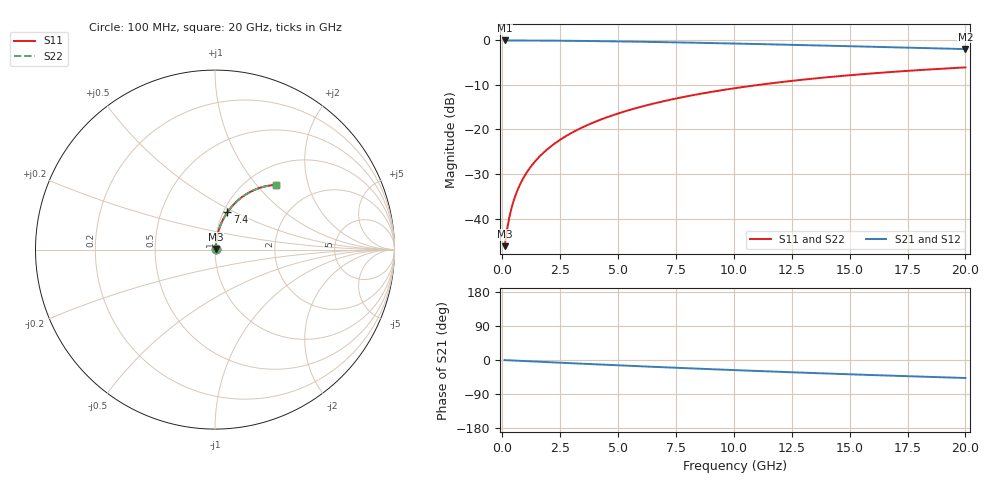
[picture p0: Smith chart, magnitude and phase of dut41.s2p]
! Touchstone file exported from HFSS 2024.1.0
!  File:  C:/UserFiles/LocalFiles/RDL_TSV_Batchsim/temp_RDL_bottom_41_1778692586.aedt
!  Generated:  01:19:10 AM May 14, 2026
!  Design:  RDL_bottom
!  Project:  temp_RDL_bottom_41_1778692586
!  Setup:  Setup1
!  Solution:  Sweep
! Variables:
!  dtsv = 10.80580581um
!  hbump = 3um
!  htsv = 84.55um
!  ldown = 641.56um
!  lrdl = 100um
!  p = 40
!  p1 = 51.12um
!  rhole = 1um
!  t = 450um
!  tdown = 4.66um
!  trdl = 3.915915916um
!  wdown = 13.25um
!  wrdl = 20um
# GHz S MA R 50.000000
! Terminal data exported
! Port[1] = RDL1_T1
! Port[2] = RDL1_T2
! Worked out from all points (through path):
!   200 points, 100 MHz to 20 GHz, reference 50 ohm
!   highest |S21| = -0.03 dB at 100 MHz (marker M1); lowest = -2.0 dB at 20 GHz (marker M2)
!   group delay of S21, straight-line fit = 6.58 ps
!   lowest |S11| = -46.2 dB at 100 MHz (marker M3), VSWR 1.01, Z = 50.4 + j0.321 ohm
!   |S11| at or under -10 dB: start of sweep to 11.06 GHz
!   |S22| runs from -46.2 to -6.1 dB; largest |S21 - S12| = 3.3e-15
!   S11 on the Smith chart (normalised r, x): 100 MHz: 1.01, +0.01; 7.4 GHz: 1.05, +0.46; 20 GHz: 1.33, +1.28
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0.1  0.004919 40.4  0.9963 -0.3  0.9963 -0.3  0.004919 40.4
! Gamma 0 0 0 0
! Port Impedance 50 0 50 0
0.2  0.007424 58.7  0.9962 -0.6  0.9962 -0.6  0.007424 58.7
0.3  0.01027 67.0  0.996 -0.9  0.996 -0.9  0.01027 67.0
0.4  0.01321 71.6  0.9959 -1.2  0.9959 -1.2  0.01321 71.6
0.5  0.01618 74.4  0.9957 -1.5  0.9957 -1.5  0.01618 74.4
0.6  0.01917 76.3  0.9955 -1.7  0.9955 -1.7  0.01917 76.3
0.8  0.0252 78.6  0.9952 -2.3  0.9952 -2.3  0.0252 78.6
1.1  0.03429 80.3  0.9945 -3.2  0.9945 -3.2  0.03429 80.3
1.5  0.04645 81.1  0.9934 -4.3  0.9934 -4.3  0.04645 81.1
1.8  0.05557 81.3  0.9924 -5.2  0.9924 -5.2  0.05557 81.3
2.1  0.06468 81.1  0.9912 -6.0  0.9912 -6.0  0.06468 81.1
2.7  0.08284 80.5  0.9884 -7.7  0.9884 -7.7  0.08284 80.5
3.5  0.1069 79.3  0.9837 -9.9  0.9837 -9.9  0.1069 79.3
4.2  0.1277 78.1  0.9788 -11.9  0.9788 -11.9  0.1277 78.0
5  0.1512 76.5  0.9725 -14.0  0.9725 -14.0  0.1512 76.5
6.8  0.2029 72.8  0.9558 -18.7  0.9558 -18.7  0.2029 72.8
7.4  0.2197 71.6  0.9497 -20.3  0.9497 -20.3  0.2197 71.6
8.7  0.2552 68.9  0.9356 -23.5  0.9356 -23.5  0.2552 68.8
10.1  0.292 65.9  0.9194 -26.9  0.9194 -26.9  0.2919 65.9
13.4  0.3714 59.1  0.879 -34.3  0.879 -34.3  0.3713 59.0
16.7  0.4397 52.6  0.8376 -41.2  0.8376 -41.2  0.4396 52.6
20  0.4967 46.6  0.7972 -47.4  0.7972 -47.4  0.4966 46.6
